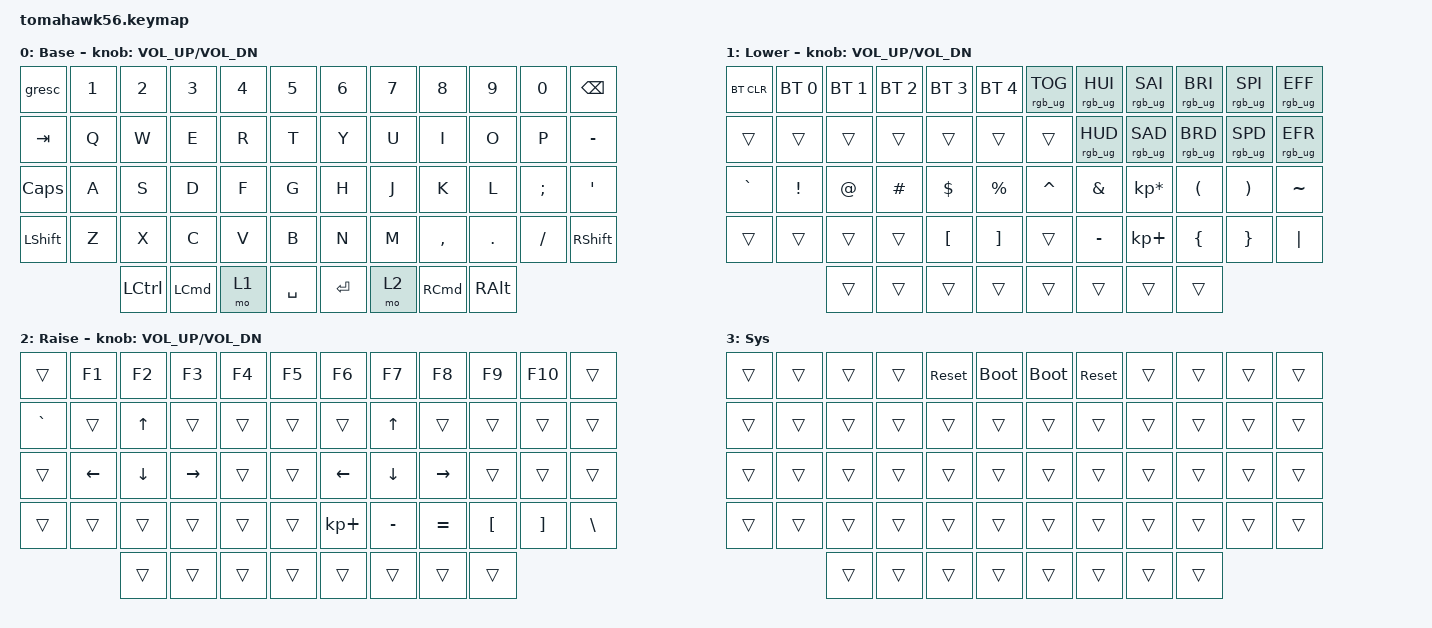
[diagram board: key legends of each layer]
/*
 * Copyright (c) 2020 The ZMK Contributors
 *
 * SPDX-License-Identifier: MIT
 */

#include <behaviors.dtsi>
#include <dt-bindings/zmk/bt.h>
#include <dt-bindings/zmk/keys.h>
#include <dt-bindings/zmk/rgb.h>
#include <dt-bindings/zmk/backlight.h>

/*
 * Assign the cs-gpios pin to 4.
 * Uncomment these next few lines if implementing nice!view Displays
 */

// nice_view_spi: &spi0 { cs-gpios = <&pro_micro 4 GPIO_ACTIVE_HIGH>; };

// Uncomment this block if using RGB
&led_strip {
    chain-length = <28>;
};

/ {
    /*
     * Combos that activate the sys layer for keyboard-based bootloader
     * and sys_reset access -- avoids needing to disassemble the case to
     * short the bootloader pads on each half.
     *
     * Each combo lives on a single half:
     *   LSHFT + LOWER  -> activates sys layer (left-side combo)
     *   RSHFT + RAISE  -> activates sys layer (right-side combo)
     *
     * timeout-ms is small (50ms) so the combo isn't triggered accidentally
     * during typing, and require-prior-idle-ms (500ms) prevents it from
     * firing in the middle of a typing burst.
     */
    combos {
        compatible = "zmk,combos";

        combo_sys_left {
            timeout-ms = <50>;
            key-positions = <36 50>;  // LSHFT + LOWER
            bindings = <&mo 3>;
            require-prior-idle-ms = <500>;
        };

        combo_sys_right {
            timeout-ms = <50>;
            key-positions = <47 53>;  // RSHFT + RAISE
            bindings = <&mo 3>;
            require-prior-idle-ms = <500>;
        };
    };

    keymap {
        compatible = "zmk,keymap";

        default_layer {
// ------------------------------------------------------------------------------------------------------------
// |  ESC  |  1  |  2   |  3   |  4   |  5   |            |  6   |  7   |  8    |  9   |   0   | BSPC  |
// |  TAB  |  Q  |  W   |  E   |  R   |  T   |            |  Y   |  U   |  I    |  O   |   P   |   -   |
// |  CTRL |  A  |  S   |  D   |  F   |  G   |            |  H   |  J   |  K    |  L   |   ;   |   '   |
// | SHIFT |  Z  |  X   |  C   |  V   |  B   |            |  N   |  M   |  ,    |  .   |   /   | SHIFT |
//               | CTRL | CMD  |LOWER |SPACE |            |ENTER |RAISE |  CMD  | OPT  |

            display-name = "Base";
            bindings = <
&gresc          &kp N1  &kp N2            &kp N3            &kp N4  &kp N5               &kp N6  &kp N7  &kp N8             &kp N9          &kp N0    &kp BSPC
&kp TAB         &kp Q   &kp W             &kp E             &kp R   &kp T                &kp Y   &kp U   &kp I              &kp O           &kp P     &kp MINUS
&kp CAPSLOCK    &kp A   &kp S             &kp D             &kp F   &kp G                &kp H   &kp J   &kp K              &kp L           &kp SEMI  &kp SQT
&kp LEFT_SHIFT  &kp Z   &kp X             &kp C             &kp V   &kp B                &kp N   &kp M   &kp COMMA          &kp DOT         &kp FSLH  &kp RSHFT
                        &kp LEFT_CONTROL  &kp LEFT_COMMAND  &mo 1   &kp SPACE            &kp RET &mo 2   &kp RIGHT_COMMAND  &kp RIGHT_ALT
            >;

            sensor-bindings = <&inc_dec_kp C_VOL_UP C_VOL_DN>;
        };

        lower_layer {
// ------------------------------------------------------------------------------------------------------------
// | BTCLR | BT1 | BT2 |  BT3 |  BT4 |  BT5 |            |  UG  |  UG   |  UG   |  UG  |  UG   |  UG   |
// |  F1   |  F2 |  F3 |  F4  |  F5  |  F6  |            |      |  UG   |  UG   |  UG  |  UG   |  UG   |
// |   `   |  !  |  @  |  #   |  $   |  %   |            |  ^   |  &    |  *    |  (   |   )   |   ~   |
// |       |     |     |      |  [   |  ]   |            |      |  _    |  +    |  {   |   }   |  "|"  |
//                     |      |      |      |            |      |       |       |

            display-name = "Lower";
            bindings = <
&bt BT_CLR  &bt BT_SEL 0  &bt BT_SEL 1  &bt BT_SEL 2  &bt BT_SEL 3  &bt BT_SEL 4         &rgb_ug RGB_TOG  &rgb_ug RGB_HUI  &rgb_ug RGB_SAI  &rgb_ug RGB_BRI  &rgb_ug RGB_SPI  &rgb_ug RGB_EFF
&trans      &trans        &trans        &trans        &trans        &trans               &trans           &rgb_ug RGB_HUD  &rgb_ug RGB_SAD  &rgb_ug RGB_BRD  &rgb_ug RGB_SPD  &rgb_ug RGB_EFR
&kp GRAVE   &kp EXCL      &kp AT        &kp HASH      &kp DOLLAR    &kp PRCNT            &kp CARET  &kp AMPS   &kp KP_MULTIPLY  &kp LPAR  &kp RPAR  &kp TILDE
&trans      &trans        &trans        &trans        &kp LBKT      &kp RBKT             &trans     &kp MINUS  &kp KP_PLUS      &kp LBRC  &kp RBRC  &kp PIPE
                          &trans        &trans        &trans        &trans               &trans  &trans     &trans     &trans
            >;

            sensor-bindings = <&inc_dec_kp C_VOL_UP C_VOL_DN>;
        };

        raise_layer {
// ------------------------------------------------------------------------------------------------------------
// |       |     |     |      |      |      |            |      |       |       |      |       |       |
// |   `   |  1  |  2  |  3   |  4   |  5   |            |  6   |   7   |   8   |  9   |   0   |       |
// |   F1  |  F2 |  F3 |  F4  |  F5  |  F6  |            |      |   <-  |   v   |  ^   |  ->   |       |
// |   F7  |  F8 |  F9 |  F10 |  F11 |  F12 |            |  +   |   -   |   =   |  [   |   ]   |   \   |
//                     |      |      |      |            |      |       |       |

            display-name = "Raise";
            bindings = <
&trans     &kp F1    &kp F2    &kp F3     &kp F4  &kp F5            &kp F6       &kp F7     &kp F8     &kp F9    &kp F10   &trans
&kp GRAVE  &trans    &kp UP    &trans     &trans  &trans            &trans       &kp UP     &trans     &trans    &trans    &trans
&trans     &kp LEFT  &kp DOWN  &kp RIGHT  &trans  &trans            &kp LEFT     &kp DOWN   &kp RIGHT  &trans    &trans    &trans
&trans     &trans    &trans    &trans     &trans  &trans            &kp KP_PLUS  &kp MINUS  &kp EQUAL  &kp LBKT  &kp RBKT  &kp BSLH
                     &trans    &trans     &trans  &trans            &trans       &trans     &trans     &trans
            >;

            sensor-bindings = <&inc_dec_kp C_VOL_UP C_VOL_DN>;
        };

        sys_layer {
// ------------------------------------------------------------------------------------------------------------
// |       |     |     |     |RESET| BOOT |            | BOOT |RESET|     |     |     |       |
// |       |     |     |     |     |      |            |      |     |     |     |     |       |
// |       |     |     |     |     |      |            |      |     |     |     |     |       |
// |       |     |     |     |     |      |            |      |     |     |     |     |       |
//                     |     |     |      |            |      |     |     |     |
//
// Reached via the LSHFT+LOWER or RSHFT+RAISE combos defined above.
// Once active:
//   4 -> sys_reset LEFT      5 -> bootloader LEFT
//   6 -> bootloader RIGHT    7 -> sys_reset RIGHT
// &bootloader and &sys_reset route to the half the physical key lives on,
// so each controller can be reflashed independently.

            display-name = "Sys";
            bindings = <
&trans  &trans  &trans  &trans  &sys_reset  &bootloader            &bootloader  &sys_reset  &trans  &trans  &trans  &trans
&trans  &trans  &trans  &trans  &trans      &trans                 &trans       &trans      &trans  &trans  &trans  &trans
&trans  &trans  &trans  &trans  &trans      &trans                 &trans       &trans      &trans  &trans  &trans  &trans
&trans  &trans  &trans  &trans  &trans      &trans                 &trans       &trans      &trans  &trans  &trans  &trans
                &trans  &trans  &trans      &trans                 &trans       &trans      &trans  &trans
            >;
        };

        extra_2 { status = "reserved"; };

        extra_3 { status = "reserved"; };
    };
};
